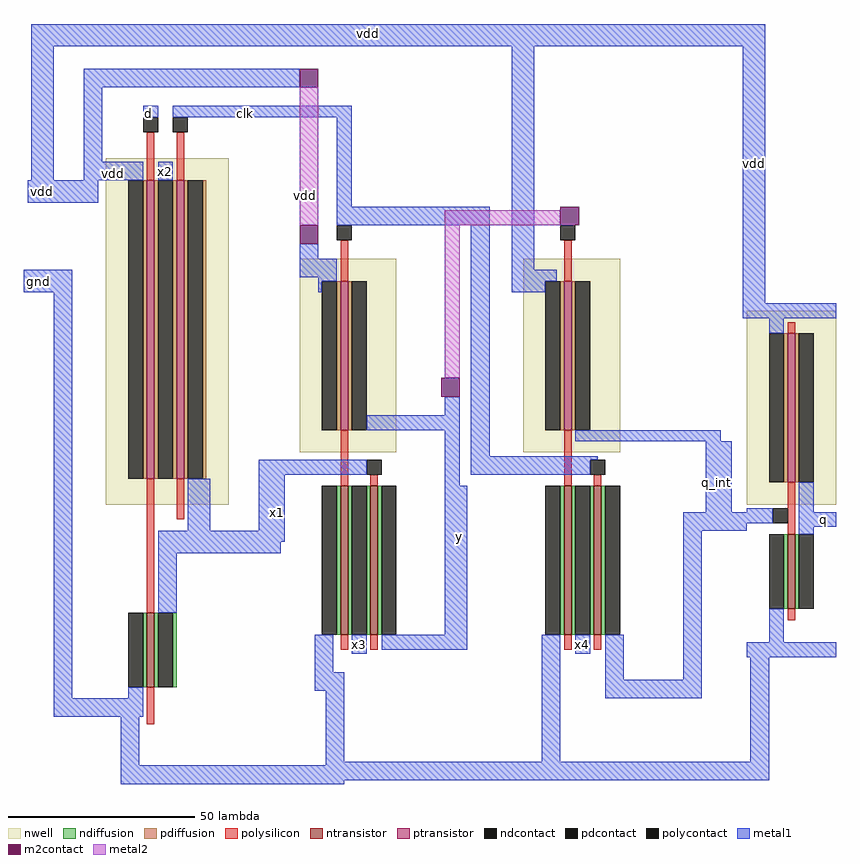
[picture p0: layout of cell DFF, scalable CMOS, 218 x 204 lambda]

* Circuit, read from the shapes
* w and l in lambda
.subckt DFF clk d gnd q q_int vdd x1 x2 x3 x4 y
M1 x1 d gnd VSUBS nfet w=20 l=2
M2 x3 clk gnd VSUBS nfet w=40 l=2
M3 y x1 x3 VSUBS nfet w=40 l=2
M4 x4 y gnd VSUBS nfet w=40 l=2
M5 q_int clk x4 VSUBS nfet w=40 l=2
M6 q q_int gnd VSUBS nfet w=20 l=2
M7 x2 d vdd n1 pfet w=80 l=2
M8 x1 clk x2 n1 pfet w=80 l=2
M9 y clk vdd n2 pfet w=40 l=2
M10 q_int y vdd n3 pfet w=40 l=2
M11 q q_int vdd n4 pfet w=40 l=2
.ends

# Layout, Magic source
magic
tech scmos
<< nwell >>
rect 10 -34 43 59
rect 62 -20 88 32
rect 122 -20 148 32
rect 182 -34 206 18
<< ntransistor >>
rect 21 -83 23 -63
rect 73 -69 75 -29
rect 81 -69 83 -29
rect 133 -69 135 -29
rect 141 -69 143 -29
rect 193 -62 195 -42
<< ptransistor >>
rect 21 -27 23 53
rect 29 -27 31 53
rect 73 -14 75 26
rect 133 -14 135 26
rect 193 -28 195 12
<< ndiffusion >>
rect 20 -83 21 -63
rect 23 -83 24 -63
rect 28 -83 29 -63
rect 72 -69 73 -29
rect 75 -69 76 -29
rect 80 -69 81 -29
rect 83 -69 84 -29
rect 132 -69 133 -29
rect 135 -69 136 -29
rect 140 -69 141 -29
rect 143 -69 144 -29
rect 192 -62 193 -42
rect 195 -62 196 -42
<< pdiffusion >>
rect 20 -27 21 53
rect 23 -27 24 53
rect 28 -27 29 53
rect 31 -27 32 53
rect 36 -27 37 53
rect 72 -14 73 26
rect 75 -14 76 26
rect 132 -14 133 26
rect 135 -14 136 26
rect 192 -28 193 12
rect 195 -28 196 12
<< ndcontact >>
rect 16 -83 20 -63
rect 24 -83 28 -63
rect 68 -69 72 -29
rect 76 -69 80 -29
rect 84 -69 88 -29
rect 128 -69 132 -29
rect 136 -69 140 -29
rect 144 -69 148 -29
rect 188 -62 192 -42
rect 196 -62 200 -42
<< pdcontact >>
rect 16 -27 20 53
rect 24 -27 28 53
rect 32 -27 36 53
rect 68 -14 72 26
rect 76 -14 80 26
rect 128 -14 132 26
rect 136 -14 140 26
rect 188 -28 192 12
rect 196 -28 200 12
<< polysilicon >>
rect 21 53 23 66
rect 29 53 31 66
rect 73 26 75 37
rect 133 26 135 37
rect 193 12 195 15
rect 21 -63 23 -27
rect 29 -38 31 -27
rect 73 -29 75 -14
rect 81 -29 83 -26
rect 133 -29 135 -14
rect 141 -29 143 -26
rect 193 -42 195 -28
rect 193 -65 195 -62
rect 73 -73 75 -69
rect 81 -73 83 -69
rect 133 -73 135 -69
rect 141 -73 143 -69
rect 21 -93 23 -83
<< polycontact >>
rect 20 66 24 70
rect 28 66 32 70
rect 72 37 76 41
rect 132 37 136 41
rect 80 -26 84 -22
rect 140 -26 144 -22
rect 189 -39 193 -35
<< metal1 >>
rect -10 89 187 95
rect -10 53 -4 89
rect 4 78 62 83
rect 4 58 9 78
rect 20 70 24 73
rect 28 70 76 73
rect 4 53 20 58
rect -11 47 8 53
rect -12 23 1 29
rect -4 -86 1 23
rect 24 53 28 58
rect 72 46 76 70
rect 72 41 113 46
rect 62 32 67 36
rect 62 27 72 32
rect 67 26 72 27
rect 67 23 68 26
rect 101 -10 105 -5
rect 80 -14 105 -10
rect 51 -26 80 -22
rect 32 -41 38 -27
rect 51 -41 58 -26
rect 101 -29 105 -14
rect 108 -21 113 41
rect 119 29 125 89
rect 119 26 131 29
rect 119 23 128 26
rect 181 20 187 89
rect 181 16 206 20
rect 188 12 192 16
rect 136 -17 175 -14
rect 108 -22 142 -21
rect 108 -26 140 -22
rect 24 -44 58 -41
rect 24 -47 57 -44
rect 24 -63 29 -47
rect 66 -79 71 -69
rect 76 -74 80 -69
rect 101 -69 107 -29
rect 84 -73 107 -69
rect 16 -86 20 -83
rect 66 -84 74 -79
rect -4 -91 20 -86
rect 14 -104 19 -91
rect 69 -103 74 -84
rect 127 -103 132 -69
rect 136 -74 140 -69
rect 171 -36 178 -17
rect 182 -36 189 -35
rect 165 -39 189 -36
rect 196 -36 200 -28
rect 165 -41 182 -39
rect 196 -40 206 -36
rect 144 -81 149 -69
rect 165 -81 170 -41
rect 196 -42 200 -40
rect 188 -71 192 -62
rect 182 -75 206 -71
rect 144 -86 170 -81
rect 183 -103 188 -75
rect 69 -104 188 -103
rect 14 -108 188 -104
rect 14 -109 74 -108
<< m2contact >>
rect 62 78 67 83
rect 62 36 67 41
rect 100 -5 105 0
rect 132 41 137 46
<< metal2 >>
rect 62 41 67 78
rect 101 41 132 45
rect 101 0 105 41
<< labels >>
rlabel metal1 -11 47 -3 53 3 vdd
rlabel metal1 -12 23 -4 29 3 gnd
rlabel metal1 40 70 55 72 1 clk
rlabel metal1 200 -40 205 -36 7 q
rlabel metal1 20 70 23 72 1 d
rlabel metal1 172 -36 176 -20 1 q_int
rlabel metal1 54 -44 58 -28 1 x1
rlabel metal1 24 53 28 58 1 x2
rlabel metal1 103 -45 107 -40 1 y
rlabel metal1 76 -74 80 -69 1 x3
rlabel metal1 136 -74 140 -69 1 x4
rlabel metal1 10 54 14 56 1 vdd
rlabel metal1 183 44 185 71 1 vdd
rlabel metal1 6 92 155 93 5 vdd
rlabel metal2 62 47 65 51 1 vdd
<< end >>
